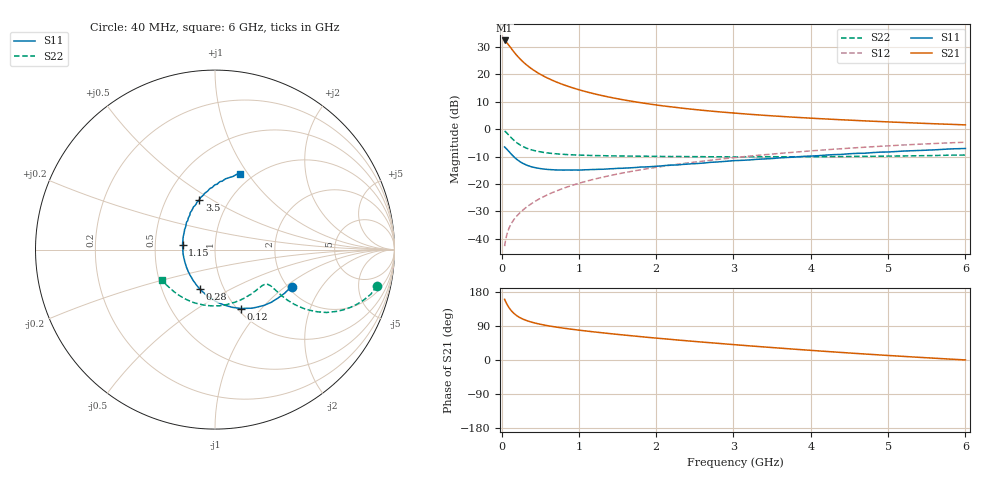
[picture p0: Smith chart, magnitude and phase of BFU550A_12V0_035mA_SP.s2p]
! Filename:  P:\Prog\Test\Noise\ATS_data\Testdata_Net\03 Spar\BFU550A_APG2013_35_C05_12p0V_035mA_SP_CM01_D.s2p
! Date/Time: Tue 16/Apr/2013 15:10:21
! BFU550A_APG2013_35_C05_12p0V_1to35mA_SP_CM01_Bias8_R.s2p
! MDIF S-parameter v. bias file
! BFU550A_APG2013_35_C05_12p0V_1to35mA_SP_CM01
! Date/time Mon Apr 15 17:55:46 2013
! VAR V_out= 12.0010
! VAR I_out= 34.9950
! VAR V_in= 0.7299
! VAR I_in= 0.3334
! Device data file deembeded for feedlines and parallel
! Original file: \03 Spar\BFU550A_APG2013_35_C05_12p0V_035mA_SP_CM01_R.s2p
! Feed-files: PR017V01_150413_Feed1.s2p, PR017V01_150413_Feed2.s2p
! Parallel-file: PR017V01_150413_Par.s2p
# MHz S MA R 50
!  Freq-MHz  S11-mag  S11-arg  S21-mag  S21-arg  S12-mag  S12-arg  S22-mag  S22-arg
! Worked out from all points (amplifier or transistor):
!   98 points, 40 MHz to 6 GHz, reference 50 ohm
!   highest |S21| = 32.4 dB at 40 MHz (marker M1)
!   |S21| within 3 dB of that: start of sweep to 128.3 MHz
!   unconditionally stable (mu >= 1): 876.8 MHz to 1.774 GHz
!   at 300 MHz: K = 0.85, MSG = 26.6 dB, |S12| = -29.0 dB
!   at 1.6 GHz: K = 1.00, MAG = 12.8 dB, |S12| = -15.8 dB
!   at 6 GHz: K = 0.90, MSG = 3.2 dB, |S12| = -4.8 dB
!   S11 on the Smith chart (normalised r, x): 40 MHz: 2.09, -1.11; 120 MHz: 1.04, -0.78; 280 MHz: 0.77, -0.36; 1.15 GHz: 0.69, +0.04; 3.5 GHz: 0.73, +0.44; 6 GHz: 0.88, +0.92
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40  0.4738 -25.8  41.91 160.1  0.007275 80.7  0.9249 -12.6
60  0.4427 -37.6  39.19 151.2  0.01051 76.9  0.8751 -18.7
80  0.4148 -48.4  36.38 143.8  0.01331 74.6  0.8188 -23.2
100  0.3861 -57.7  33.44 137.3  0.01585 72.9  0.7647 -26.7
120  0.358 -66.4  30.76 131.7  0.01811 71.7  0.7134 -29.4
140  0.3348 -73.6  28.21 127.1  0.0202 71.2  0.6672 -31.3
160  0.3134 -80.5  25.91 123.1  0.02227 70.8  0.628 -32.6
180  0.2952 -86.9  23.92 119.6  0.02424 70.7  0.5928 -33.6
220  0.2668 -97.3  20.66 114.0  0.02799 71.1  0.538 -34.6
280  0.2361 -110.5  16.99 107.7  0.03353 72.0  0.48 -34.9
380  0.2072 -127.5  13 100.5  0.04283 73.2  0.4227 -34.2
550  0.1869 -148.2  9.27 92.3  0.05891 74.5  0.3746 -33.1
750  0.1796 -164.9  6.923 85.6  0.07821 74.8  0.3513 -33.4
1050  0.1803 176.6  5.034 77.6  0.1074 74.0  0.3347 -36.0
1150  0.1827 171.6  4.62 75.2  0.1171 73.6  0.331 -37.1
1550  0.1929 154.8  3.498 66.5  0.1565 71.1  0.3233 -43.3
2050  0.2125 139.3  2.713 56.9  0.2056 67.4  0.3182 -52.5
3100  0.2693 114.7  1.927 39.0  0.3113 58.4  0.3125 -75.4
3500  0.2908 107.3  1.754 32.8  0.3511 54.5  0.3143 -85.2
4100  0.3282 97.1  1.563 24.0  0.4109 48.4  0.3148 -100.1
5200  0.3986 81.6  1.325 9.5  0.5149 36.4  0.324 -128.3
6000  0.4441 71.6  1.199 0.2  0.5776 27.2  0.3373 -150.3
